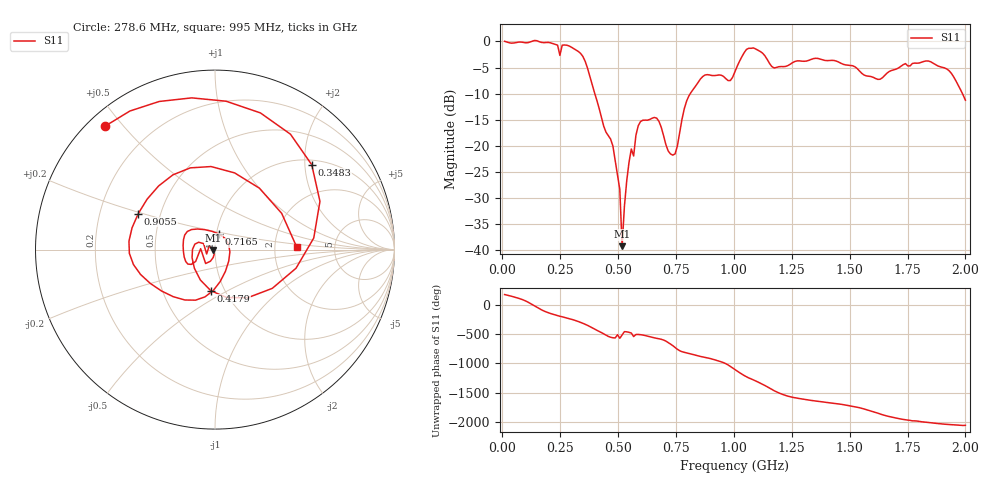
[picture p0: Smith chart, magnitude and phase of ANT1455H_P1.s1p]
!Created with skrf (http://scikit-rf.org).
# Hz S RI R 50.0
!freq ReS11 ImS11
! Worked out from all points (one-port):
!   201 points, 10 MHz to 2 GHz, reference 50 ohm
!   lowest |S11| = -39.2 dB at 517.5 MHz (marker M1), VSWR 1.02, Z = 49 - j0.408 ohm
!   |S11| at or under -10 dB: 399.6 MHz to 811.7 MHz (412.1 MHz wide, 68 % of centre); 1.987 GHz to end of sweep
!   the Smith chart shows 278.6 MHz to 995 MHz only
!   S11 on the Smith chart (normalised r, x): 278.6 MHz: 0.05, +0.45; 348.3 MHz: 1.11, +2.17; 417.9 MHz: 0.86, -0.42; 716.5 MHz: 1.03, +0.18; 905.5 MHz: 0.37, +0.19; 995 MHz: 2.67, +0.09
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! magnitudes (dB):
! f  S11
! 10 MHz  0.0
! 248.8 MHz  -2.7
! 258.8 MHz  -0.7
! 278.6 MHz  -0.7
! 348.3 MHz  -2.9
! 417.9 MHz  -12.8
! 477.6 MHz  -20.0
! 507.5 MHz  -28.3
! 517.5 MHz  -39.2
! 527.4 MHz  -31.6
! 547.3 MHz  -23.1
! 567.2 MHz  -21.9
! 587.1 MHz  -16.1
! 666.7 MHz  -14.7
! 716.5 MHz  -21.0
! 756.2 MHz  -20.0
! 806 MHz  -10.4
! 905.5 MHz  -6.5
! 995 MHz  -6.8
! 1.005 GHz  -5.8
! 1.065 GHz  -1.3
! 1.174 GHz  -5.1
! 1.254 GHz  -4.0
! 1.502 GHz  -4.6
! 1.622 GHz  -7.3
! 1.751 GHz  -4.7
! 1.92 GHz  -5.3
! 2 GHz  -11.2
